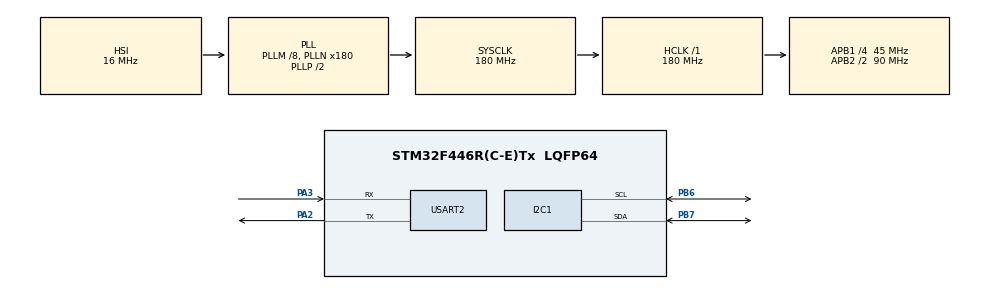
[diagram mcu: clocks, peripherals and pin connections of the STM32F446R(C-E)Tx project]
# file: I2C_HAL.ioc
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Mcu.Family=STM32F4
Mcu.Name=STM32F446R(C-E)Tx
Mcu.Package=LQFP64
NVIC.I2C1_ER_IRQn=true\:0\:0\:false\:false\:true\:true\:true\:true
NVIC.I2C1_EV_IRQn=true\:0\:0\:false\:false\:true\:true\:true\:true
NVIC.PriorityGroup=NVIC_PRIORITYGROUP_4
NVIC.TIM6_DAC_IRQn=true\:2\:0\:true\:false\:true\:true\:true\:true
NVIC.USART2_IRQn=true\:1\:0\:true\:false\:true\:true\:true\:true
PA2.Mode=Asynchronous
PA2.Signal=USART2_TX
PA3.Mode=Asynchronous
PA3.Signal=USART2_RX
PB6.Mode=I2C
PB6.Signal=I2C1_SCL
PB7.Mode=I2C
PB7.Signal=I2C1_SDA
ProjectManager.HeapSize=0x200
ProjectManager.StackSize=0x400
ProjectManager.TargetToolchain=STM32CubeIDE
RCC.AHBFreq_Value=180000000
RCC.APB1CLKDivider=RCC_HCLK_DIV4
RCC.APB1Freq_Value=45000000
RCC.APB1TimFreq_Value=90000000
RCC.APB2CLKDivider=RCC_HCLK_DIV2
RCC.APB2Freq_Value=90000000
RCC.APB2TimFreq_Value=180000000
RCC.CortexFreq_Value=180000000
RCC.HCLKFreq_Value=180000000
RCC.PLLM=8
RCC.PLLN=180
RCC.SYSCLKFreq_VALUE=180000000
RCC.SYSCLKSource=RCC_SYSCLKSOURCE_PLLCLK
RCC.USBFreq_Value=180000000
RCC.VCOOutputFreq_Value=360000000
TIM6.AutoReloadPreload=TIM_AUTORELOAD_PRELOAD_ENABLE
TIM6.Period=9999
TIM6.Prescaler=8999
TIM6.TIM_MasterOutputTrigger=TIM_TRGO_UPDATE
USART2.VirtualMode=VM_ASYNC
VP_TIM6_VS_ClockSourceINT.Mode=Enable_Timer
board=custom

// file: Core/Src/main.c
/* USER CODE BEGIN Header */
/**
  ******************************************************************************
  * @file           : main.c
  * @brief          : Main program body
  ******************************************************************************
  * @attention
  *
  * Copyright (c) 2026 STMicroelectronics.
  * All rights reserved.
  *
  * This software is licensed under terms that can be found in the LICENSE file
  * in the root directory of this software component.
  * If no LICENSE file comes with this software, it is provided AS-IS.
  *
  ******************************************************************************
  */
/* USER CODE END Header */
#include "main.h"

/* USER CODE BEGIN Includes */
#include <stdio.h>
#include <string.h>
/* USER CODE END Includes */

/* USER CODE BEGIN PTD */

typedef struct
{
    uint16_t dig_T1;
    int16_t  dig_T2;
    int16_t  dig_T3;

    uint16_t dig_P1;
    int16_t  dig_P2;
    int16_t  dig_P3;
    int16_t  dig_P4;
    int16_t  dig_P5;
    int16_t  dig_P6;
    int16_t  dig_P7;
    int16_t  dig_P8;
    int16_t  dig_P9;

} BMP280_Calib_t;
/* USER CODE END PTD */

/* USER CODE BEGIN PD */
#define BMP280_ADDR_76          (0x76 << 1)
#define BMP280_ADDR_77          (0x77 << 1)

#define BMP280_REG_DIG_T1       0x88
#define BMP280_REG_CHIP_ID      0xD0
#define BMP280_REG_RESET        0xE0
#define BMP280_REG_STATUS       0xF3
#define BMP280_REG_CTRL_MEAS    0xF4
#define BMP280_REG_CONFIG       0xF5
#define BMP280_REG_BURST_START  0xF7

#define BMP280_CHIP_ID_PRIMARY  0x58
#define BMP280_CHIP_ID_ALT1     0x57
#define BMP280_CHIP_ID_ALT2     0x56

#define BMP280_SOFT_RESET_CMD   0xB6
/* USER CODE END PD */

I2C_HandleTypeDef hi2c1;

TIM_HandleTypeDef htim6;

UART_HandleTypeDef huart2;

/* USER CODE BEGIN PV */
BMP280_Calib_t calib;

int32_t  t_fine;
int32_t  g_comp_T = 0;
uint32_t g_comp_P = 0;
uint32_t g_tick   = 0;

uint16_t bmp280_addr = BMP280_ADDR_76;
/* USER CODE END PV */

void SystemClock_Config(void);
static void MX_GPIO_Init(void);
static void MX_I2C1_Init(void);
static void MX_TIM6_Init(void);
static void MX_USART2_UART_Init(void);
/* USER CODE BEGIN PFP */
void USART2_SendString(char *s);

uint8_t BMP280_ReadReg(uint8_t reg);
void BMP280_WriteReg(uint8_t reg, uint8_t value);
void BMP280_BurstRead(uint8_t reg, uint8_t *buf, uint8_t len);

uint8_t BMP280_Init(void);
void BMP280_ReadCalibration(void);

int32_t BMP280_Compensate_T(int32_t adc_T);
uint32_t BMP280_Compensate_P(int32_t adc_P);

void SampleAndCompensate(void);
void RunVerificationTests(void);
/* USER CODE END PFP */

/* USER CODE BEGIN 0 */
void USART2_SendString(char *s)
{
    HAL_UART_Transmit(&huart2, (uint8_t*)s, strlen(s), HAL_MAX_DELAY);
}

void BMP280_WriteReg(uint8_t reg, uint8_t value)
{
    HAL_I2C_Mem_Write(
        &hi2c1,
        bmp280_addr,
        reg,
        I2C_MEMADD_SIZE_8BIT,
        &value,
        1,
        HAL_MAX_DELAY
    );
}

uint8_t BMP280_ReadReg(uint8_t reg)
{
    uint8_t value = 0;

    HAL_I2C_Mem_Read(
        &hi2c1,
        bmp280_addr,
        reg,
        I2C_MEMADD_SIZE_8BIT,
        &value,
        1,
        HAL_MAX_DELAY
    );

    return value;
}

void BMP280_BurstRead(uint8_t reg, uint8_t *buf, uint8_t len)
{
    HAL_I2C_Mem_Read(
        &hi2c1,
        bmp280_addr,
        reg,
        I2C_MEMADD_SIZE_8BIT,
        buf,
        len,
        HAL_MAX_DELAY
    );
}

void BMP280_ReadCalibration(void)
{
    uint8_t calib_buf[24];

    BMP280_BurstRead(0x88, calib_buf, 24);

    calib.dig_T1 = (uint16_t)((calib_buf[1] << 8) | calib_buf[0]);
    calib.dig_T2 = (int16_t)((calib_buf[3] << 8) | calib_buf[2]);
    calib.dig_T3 = (int16_t)((calib_buf[5] << 8) | calib_buf[4]);

    calib.dig_P1 = (uint16_t)((calib_buf[7] << 8) | calib_buf[6]);
    calib.dig_P2 = (int16_t)((calib_buf[9] << 8) | calib_buf[8]);
    calib.dig_P3 = (int16_t)((calib_buf[11] << 8) | calib_buf[10]);
    calib.dig_P4 = (int16_t)((calib_buf[13] << 8) | calib_buf[12]);
    calib.dig_P5 = (int16_t)((calib_buf[15] << 8) | calib_buf[14]);
    calib.dig_P6 = (int16_t)((calib_buf[17] << 8) | calib_buf[16]);
    calib.dig_P7 = (int16_t)((calib_buf[19] << 8) | calib_buf[18]);
    calib.dig_P8 = (int16_t)((calib_buf[21] << 8) | calib_buf[20]);
    calib.dig_P9 = (int16_t)((calib_buf[23] << 8) | calib_buf[22]);
}

int32_t BMP280_Compensate_T(int32_t adc_T)
{
    int32_t var1, var2, T;

    var1 = ((((adc_T >> 3) - ((int32_t)calib.dig_T1 << 1))) *
            ((int32_t)calib.dig_T2)) >> 11;

    var2 = (((((adc_T >> 4) - ((int32_t)calib.dig_T1)) *
            ((adc_T >> 4) - ((int32_t)calib.dig_T1))) >> 12) *
            ((int32_t)calib.dig_T3)) >> 14;

    t_fine = var1 + var2;

    T = (t_fine * 5 + 128) >> 8;

    return T;
}

uint32_t BMP280_Compensate_P(int32_t adc_P)
{
    int64_t var1, var2, p;

    var1 = ((int64_t)t_fine) - 128000;

    var2 = var1 * var1 * (int64_t)calib.dig_P6;
    var2 = var2 + ((var1 * (int64_t)calib.dig_P5) << 17);
    var2 = var2 + (((int64_t)calib.dig_P4) << 35);

    var1 = ((var1 * var1 * (int64_t)calib.dig_P3) >> 8)
            + ((var1 * (int64_t)calib.dig_P2) << 12);

    var1 = (((((int64_t)1) << 47) + var1)
            * ((int64_t)calib.dig_P1)) >> 33;

    if (var1 == 0)
        return 0;

    p = 1048576 - adc_P;
    p = (((p << 31) - var2) * 3125) / var1;

    var1 = (((int64_t)calib.dig_P9) * (p >> 13) * (p >> 13)) >> 25;
    var2 = (((int64_t)calib.dig_P8) * p) >> 19;

    p = ((p + var1 + var2) >> 8)
            + (((int64_t)calib.dig_P7) << 4);

    return (uint32_t)p;
}

void SampleAndCompensate(void)
{
    uint8_t raw[6];

    BMP280_BurstRead(BMP280_REG_BURST_START, raw, 6);

    int32_t adc_P =
        ((uint32_t)raw[0] << 12) |
        ((uint32_t)raw[1] << 4)  |
        ((uint32_t)raw[2] >> 4);

    int32_t adc_T =
        ((uint32_t)raw[3] << 12) |
        ((uint32_t)raw[4] << 4)  |
        ((uint32_t)raw[5] >> 4);

    g_comp_T = BMP280_Compensate_T(adc_T);
    g_comp_P = BMP280_Compensate_P(adc_P);
}

uint8_t BMP280_Init(void)
{
    uint8_t chip_id;
    uint8_t status;

    BMP280_WriteReg(BMP280_REG_RESET, BMP280_SOFT_RESET_CMD);

    HAL_Delay(100);

    do
    {
        status = BMP280_ReadReg(BMP280_REG_STATUS);
    }
    while(status & 0x01);

    chip_id = BMP280_ReadReg(BMP280_REG_CHIP_ID);

    BMP280_ReadCalibration();

    BMP280_WriteReg(BMP280_REG_CONFIG, 0x10);
    BMP280_WriteReg(BMP280_REG_CTRL_MEAS, 0x57);

    return chip_id;
}

void RunVerificationTests(void)
{
    char s[128];

    uint8_t id = BMP280_ReadReg(BMP280_REG_CHIP_ID);

    snprintf(s, sizeof(s),
             "[B1] ChipID = 0x%02X\r\n",
             id);

    USART2_SendString(s);

    if(id == BMP280_CHIP_ID_PRIMARY ||
       id == BMP280_CHIP_ID_ALT1 ||
       id == BMP280_CHIP_ID_ALT2)
    {
        USART2_SendString("[B1] Chip ID PASS\r\n");
    }
    else
    {
        USART2_SendString("[B1] Chip ID FAIL\r\n");
    }

    USART2_SendString("[B2] I2C ACK OK\r\n");

    USART2_SendString("[B3] TIM6 heartbeat running\r\n");

    int32_t tc = g_comp_T;

    uint32_t press_pa  = g_comp_P / 256;
    uint32_t press_hpa = press_pa / 100;

    uint8_t t_ok = (tc >= 1500 && tc <= 4000);
    uint8_t p_ok = (press_hpa >= 900 && press_hpa <= 1100);

    if(t_ok && p_ok)
    {
        USART2_SendString("[B4] Plausibility PASS\r\n");
    }
    else
    {
        USART2_SendString("[B4] Plausibility FAIL\r\n");
    }

    USART2_SendString("[B5] HAL VERSION RUNNING\r\n");
}
/* USER CODE END 0 */

int main(void)
{

  /* MCU Configuration--------------------------------------------------------*/

  /* Reset of all peripherals, Initializes the Flash interface and the Systick. */
  HAL_Init();

  /* Configure the system clock */
  SystemClock_Config();

  /* Initialize all configured peripherals */
  MX_GPIO_Init();
  MX_I2C1_Init();
  MX_TIM6_Init();
  MX_USART2_UART_Init();
  /* USER CODE BEGIN 2 */
  char buf[256];

  USART2_SendString("\r\n========================================\r\n");
  USART2_SendString(" CSE 2206 - Assignment 3 Part B\r\n");
  USART2_SendString(" BMP280 via I2C1 - HAL Version\r\n");
  USART2_SendString("========================================\r\n");

  USART2_SendString("Scanning I2C Bus...\r\n");

  if(HAL_I2C_IsDeviceReady(&hi2c1, BMP280_ADDR_76, 3, 100) == HAL_OK)
  {
      bmp280_addr = BMP280_ADDR_76;
      USART2_SendString(" -> Sensor Found at 0x76\r\n");
  }
  else if(HAL_I2C_IsDeviceReady(&hi2c1, BMP280_ADDR_77, 3, 100) == HAL_OK)
  {
      bmp280_addr = BMP280_ADDR_77;
      USART2_SendString(" -> Sensor Found at 0x77\r\n");
  }
  else
  {
      USART2_SendString("BMP280 NOT FOUND!\r\n");

      while(1);
  }

  USART2_SendString("Initialising BMP280...\r\n");

  uint8_t chip_id = BMP280_Init();

  snprintf(buf, sizeof(buf),
           "BMP280 detected: ChipID=0x%02X\r\n",
           chip_id);

  USART2_SendString(buf);

  USART2_SendString("Calibration constants loaded.\r\n");

  snprintf(buf, sizeof(buf),
           "dig_T1=%u dig_T2=%d dig_T3=%d\r\n",
           calib.dig_T1,
           calib.dig_T2,
           calib.dig_T3);

  USART2_SendString(buf);

  snprintf(buf, sizeof(buf),
           "dig_P1=%u dig_P2=%d dig_P3=%d\r\n",
           calib.dig_P1,
           calib.dig_P2,
           calib.dig_P3);

  USART2_SendString(buf);

  snprintf(buf, sizeof(buf),
           "dig_P4=%d dig_P5=%d dig_P6=%d\r\n",
           calib.dig_P4,
           calib.dig_P5,
           calib.dig_P6);

  USART2_SendString(buf);

  snprintf(buf, sizeof(buf),
           "dig_P7=%d dig_P8=%d dig_P9=%d\r\n",
           calib.dig_P7,
           calib.dig_P8,
           calib.dig_P9);

  USART2_SendString(buf);

  USART2_SendString("Sensor in Normal mode.\r\n");

  HAL_Delay(100);

  SampleAndCompensate();

  HAL_TIM_Base_Start_IT(&htim6);

  USART2_SendString("--- VERIFICATION TESTS ---\r\n");

  RunVerificationTests();

  USART2_SendString("--------------------------\r\n\r\n");

  USART2_SendString("--- LIVE SENSOR OUTPUT ---\r\n");
  /* USER CODE END 2 */

  /* Infinite loop */
  /* USER CODE BEGIN WHILE */
  while (1)
  {
      HAL_Delay(100);
  }
    /* USER CODE END WHILE */

}

void SystemClock_Config(void)
{
  RCC_OscInitTypeDef RCC_OscInitStruct = {0};
  RCC_ClkInitTypeDef RCC_ClkInitStruct = {0};

  /** Configure the main internal regulator output voltage
  */
  __HAL_RCC_PWR_CLK_ENABLE();
  __HAL_PWR_VOLTAGESCALING_CONFIG(PWR_REGULATOR_VOLTAGE_SCALE1);

  /** Initializes the RCC Oscillators according to the specified parameters
  * in the RCC_OscInitTypeDef structure.
  */
  RCC_OscInitStruct.OscillatorType = RCC_OSCILLATORTYPE_HSI;
  RCC_OscInitStruct.HSIState = RCC_HSI_ON;
  RCC_OscInitStruct.HSICalibrationValue = RCC_HSICALIBRATION_DEFAULT;
  RCC_OscInitStruct.PLL.PLLState = RCC_PLL_ON;
  RCC_OscInitStruct.PLL.PLLSource = RCC_PLLSOURCE_HSI;
  RCC_OscInitStruct.PLL.PLLM = 8;
  RCC_OscInitStruct.PLL.PLLN = 180;
  RCC_OscInitStruct.PLL.PLLP = RCC_PLLP_DIV2;
  RCC_OscInitStruct.PLL.PLLQ = 2;
  RCC_OscInitStruct.PLL.PLLR = 2;
  if (HAL_RCC_OscConfig(&RCC_OscInitStruct) != HAL_OK)
  {
    Error_Handler();
  }

  /** Activate the Over-Drive mode
  */
  if (HAL_PWREx_EnableOverDrive() != HAL_OK)
  {
    Error_Handler();
  }

  /** Initializes the CPU, AHB and APB buses clocks
  */
  RCC_ClkInitStruct.ClockType = RCC_CLOCKTYPE_HCLK|RCC_CLOCKTYPE_SYSCLK
                              |RCC_CLOCKTYPE_PCLK1|RCC_CLOCKTYPE_PCLK2;
  RCC_ClkInitStruct.SYSCLKSource = RCC_SYSCLKSOURCE_PLLCLK;
  RCC_ClkInitStruct.AHBCLKDivider = RCC_SYSCLK_DIV1;
  RCC_ClkInitStruct.APB1CLKDivider = RCC_HCLK_DIV4;
  RCC_ClkInitStruct.APB2CLKDivider = RCC_HCLK_DIV2;

  if (HAL_RCC_ClockConfig(&RCC_ClkInitStruct, FLASH_LATENCY_5) != HAL_OK)
  {
    Error_Handler();
  }
}

static void MX_I2C1_Init(void)
{

  hi2c1.Instance = I2C1;
  hi2c1.Init.ClockSpeed = 100000;
  hi2c1.Init.DutyCycle = I2C_DUTYCYCLE_2;
  hi2c1.Init.OwnAddress1 = 0;
  hi2c1.Init.AddressingMode = I2C_ADDRESSINGMODE_7BIT;
  hi2c1.Init.DualAddressMode = I2C_DUALADDRESS_DISABLE;
  hi2c1.Init.OwnAddress2 = 0;
  hi2c1.Init.GeneralCallMode = I2C_GENERALCALL_DISABLE;
  hi2c1.Init.NoStretchMode = I2C_NOSTRETCH_DISABLE;
  if (HAL_I2C_Init(&hi2c1) != HAL_OK)
  {
    Error_Handler();
  }

}

static void MX_TIM6_Init(void)
{

  TIM_MasterConfigTypeDef sMasterConfig = {0};

  htim6.Instance = TIM6;
  htim6.Init.Prescaler = 8999;
  htim6.Init.CounterMode = TIM_COUNTERMODE_UP;
  htim6.Init.Period = 9999;
  htim6.Init.AutoReloadPreload = TIM_AUTORELOAD_PRELOAD_ENABLE;
  if (HAL_TIM_Base_Init(&htim6) != HAL_OK)
  {
    Error_Handler();
  }
  sMasterConfig.MasterOutputTrigger = TIM_TRGO_UPDATE;
  sMasterConfig.MasterSlaveMode = TIM_MASTERSLAVEMODE_DISABLE;
  if (HAL_TIMEx_MasterConfigSynchronization(&htim6, &sMasterConfig) != HAL_OK)
  {
    Error_Handler();
  }

}

static void MX_USART2_UART_Init(void)
{

  huart2.Instance = USART2;
  huart2.Init.BaudRate = 115200;
  huart2.Init.WordLength = UART_WORDLENGTH_8B;
  huart2.Init.StopBits = UART_STOPBITS_1;
  huart2.Init.Parity = UART_PARITY_NONE;
  huart2.Init.Mode = UART_MODE_TX_RX;
  huart2.Init.HwFlowCtl = UART_HWCONTROL_NONE;
  huart2.Init.OverSampling = UART_OVERSAMPLING_16;
  if (HAL_UART_Init(&huart2) != HAL_OK)
  {
    Error_Handler();
  }

}

static void MX_GPIO_Init(void)
{

  /* GPIO Ports Clock Enable */
  __HAL_RCC_GPIOA_CLK_ENABLE();
  __HAL_RCC_GPIOB_CLK_ENABLE();

}

/* USER CODE BEGIN 4 */
void HAL_TIM_PeriodElapsedCallback(TIM_HandleTypeDef *htim)
{
    if(htim->Instance == TIM6)
    {
        g_tick++;

        SampleAndCompensate();

        int32_t tc_w = g_comp_T / 100;
        int32_t tc_f = g_comp_T % 100;

        if(tc_f < 0)
            tc_f = -tc_f;

        int32_t tf_s = g_comp_T * 9 / 5 + 3200;

        int32_t tf_w = tf_s / 100;
        int32_t tf_f = tf_s % 100;

        if(tf_f < 0)
            tf_f = -tf_f;

        uint32_t pp  = g_comp_P / 256;

        uint32_t phw = pp / 100;
        uint32_t phf = pp % 100;

        char msg[160];

        snprintf(msg,
                 sizeof(msg),
                 "[Tick:%4lu] Temp: %ld.%02ld C / %ld.%02ld F | Pres: %lu.%02lu hPa | Hum: N/A (BMP280)\r\n",
                 (unsigned long)g_tick,
                 (long)tc_w,
                 (long)tc_f,
                 (long)tf_w,
                 (long)tf_f,
                 (unsigned long)phw,
                 (unsigned long)phf);

        USART2_SendString(msg);
    }
}
/* USER CODE END 4 */

void Error_Handler(void)
{
  __disable_irq();
  while (1)
  {
  }
}
